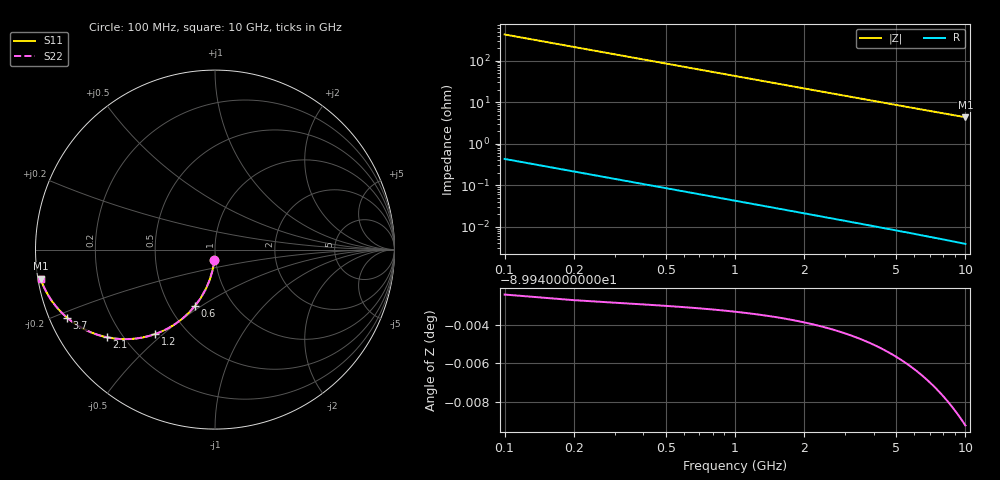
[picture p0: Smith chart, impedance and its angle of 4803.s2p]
# Hz S RI R 50.00
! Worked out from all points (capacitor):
!   100 points, 100 MHz to 10 GHz, reference 50 ohm
!   read as one part in shunt: C = 3.74 pF near 100 MHz
!   lowest |Z| = 4.32 ohm at 10 GHz (marker M1)
!   S11 on the Smith chart (normalised r, x): 100 MHz: 0.99, -0.12; 600 MHz: 0.67, -0.47; 1.2 GHz: 0.34, -0.47; 2.1 GHz: 0.14, -0.35; 3.7 GHz: 0.05, -0.22; 10 GHz: 0.01, -0.08
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1e8  -0.00348 -0.0585  0.9965 -0.0586  0.9965 -0.0586  -0.00348 -0.0585
2e8  -0.0137 -0.1158  0.9862 -0.1159  0.9862 -0.1159  -0.0137 -0.1158
3e8  -0.0303 -0.1708  0.9697 -0.171  0.9697 -0.171  -0.0303 -0.1708
4e8  -0.0525 -0.2225  0.9474 -0.2227  0.9474 -0.2227  -0.0525 -0.2225
5e8  -0.0797 -0.2702  0.9203 -0.2704  0.9203 -0.2704  -0.0797 -0.2702
6e8  -0.1108 -0.3132  0.8892 -0.3135  0.8892 -0.3135  -0.1108 -0.3132
7e8  -0.1449 -0.3514  0.855 -0.3517  0.855 -0.3517  -0.1449 -0.3514
9e8  -0.2187 -0.4127  0.7812 -0.4131  0.7812 -0.4131  -0.2187 -0.4127
1.2e9  -0.3321 -0.4702  0.6678 -0.4708  0.6678 -0.4708  -0.3321 -0.4702
1.5e9  -0.4371 -0.4952  0.5628 -0.4959  0.5628 -0.4959  -0.4371 -0.4952
1.8e9  -0.5278 -0.4983  0.4721 -0.4992  0.4721 -0.4992  -0.5278 -0.4983
2.1e9  -0.6033 -0.4882  0.3967 -0.4892  0.3967 -0.4892  -0.6033 -0.4882
2.4e9  -0.665 -0.4709  0.3349 -0.4721  0.3349 -0.4721  -0.665 -0.4709
2.7e9  -0.7152 -0.4501  0.2847 -0.4515  0.2847 -0.4515  -0.7152 -0.4501
3e9  -0.7561 -0.4282  0.2439 -0.4297  0.2439 -0.4297  -0.7561 -0.4282
3.4e9  -0.7992 -0.3992  0.2008 -0.401  0.2008 -0.401  -0.7992 -0.3992
3.7e9  -0.8249 -0.3786  0.175 -0.3805  0.175 -0.3805  -0.8249 -0.3786
4.3e9  -0.8641 -0.341  0.1358 -0.3432  0.1358 -0.3432  -0.8641 -0.341
5.1e9  -0.8994 -0.299  0.1006 -0.3016  0.1006 -0.3016  -0.8994 -0.299
6.7e9  -0.939 -0.237  0.0609 -0.2404  0.0609 -0.2404  -0.939 -0.237
8.4e9  -0.9603 -0.1925  0.0396 -0.1968  0.0396 -0.1968  -0.9603 -0.1925
1e10  -0.9716 -0.1628  0.0283 -0.1679  0.0283 -0.1679  -0.9716 -0.1628
